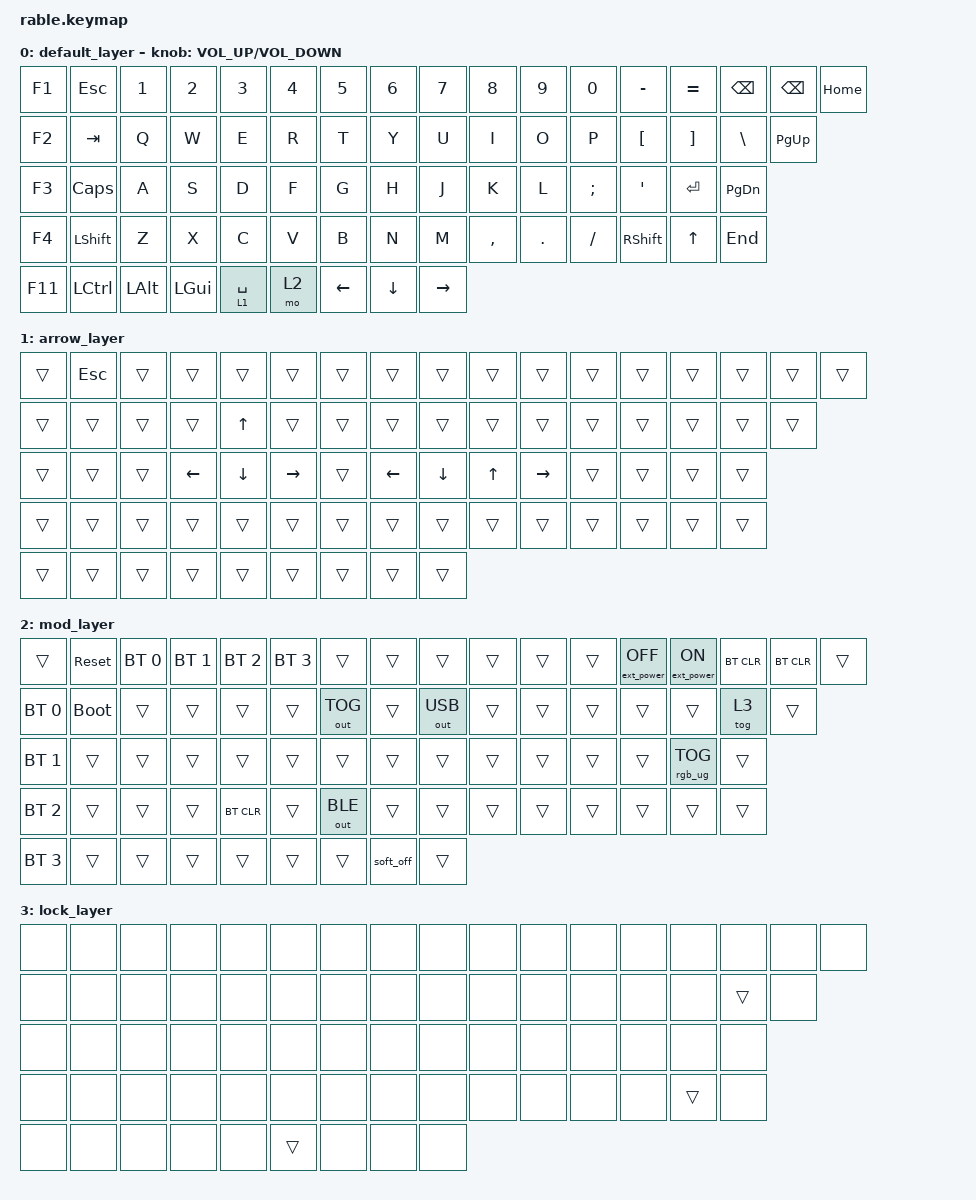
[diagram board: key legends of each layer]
/*
 * Copyright (c) 2021 Nick Winans
 *
 * SPDX-License-Identifier: MIT
 */

#include <behaviors.dtsi>
#include <dt-bindings/zmk/bt.h>
#include <dt-bindings/zmk/ext_power.h>
#include <dt-bindings/zmk/keys.h>
#include <dt-bindings/zmk/outputs.h>
#include <dt-bindings/zmk/rgb.h>


/ {
    keymap {
        compatible = "zmk,keymap";

        default_layer {
            bindings = <
&kp F1   &kp ESCAPE  &kp N1    &kp N2    &kp N3       &kp N4  &kp N5    &kp N6    &kp N7     &kp N8     &kp N9   &kp N0    &kp MINUS  &kp EQUAL  &kp BACKSPACE  &kp BACKSPACE  &kp HOME
&kp F2   &kp TAB     &kp Q     &kp W     &kp E        &kp R   &kp T     &kp Y     &kp U      &kp I      &kp O    &kp P     &kp LBKT   &kp RBKT   &kp BACKSLASH  &kp PG_UP
&kp F3   &kp CLCK    &kp A     &kp S     &kp D        &kp F   &kp G     &kp H     &kp J      &kp K      &kp L    &kp SEMI  &kp SQT    &kp RET    &kp PG_DN
&kp F4   &kp LSHFT   &kp Z     &kp X     &kp C        &kp V   &kp B     &kp N     &kp M      &kp COMMA  &kp DOT  &kp FSLH  &kp RSHFT  &kp UP     &kp END
&kp F11  &kp LCTRL   &kp LALT  &kp LGUI  &lt 1 SPACE  &mo 2   &kp LEFT  &kp DOWN  &kp RIGHT
            >;

            sensor-bindings = <&inc_dec_kp C_VOLUME_UP C_VOLUME_DOWN>;
        };

        arrow_layer {
            bindings = <
&trans  &kp ESCAPE  &trans  &trans    &trans    &trans     &trans  &trans    &trans    &trans  &trans     &trans  &trans  &trans  &trans  &trans  &trans
&trans  &trans      &trans  &trans    &kp UP    &trans     &trans  &trans    &trans    &trans  &trans     &trans  &trans  &trans  &trans  &trans
&trans  &trans      &trans  &kp LEFT  &kp DOWN  &kp RIGHT  &trans  &kp LEFT  &kp DOWN  &kp UP  &kp RIGHT  &trans  &trans  &trans  &trans
&trans  &trans      &trans  &trans    &trans    &trans     &trans  &trans    &trans    &trans  &trans     &trans  &trans  &trans  &trans
&trans  &trans      &trans  &trans    &trans    &trans     &trans  &trans    &trans
            >;
        };

        mod_layer {
            bindings = <
&trans        &sys_reset   &bt BT_SEL 0  &bt BT_SEL 1  &bt BT_SEL 2  &bt BT_SEL 3  &trans        &trans  &trans        &trans  &trans  &trans  &ext_power EP_OFF  &ext_power EP_ON  &bt BT_CLR  &bt BT_CLR  &trans
&bt BT_SEL 0  &bootloader  &trans        &trans        &trans        &trans        &out OUT_TOG  &trans  &out OUT_USB  &trans  &trans  &trans  &trans             &trans            &tog 3      &trans
&bt BT_SEL 1  &trans       &trans        &trans        &trans        &trans        &trans        &trans  &trans        &trans  &trans  &trans  &trans             &rgb_ug RGB_TOG   &trans
&bt BT_SEL 2  &trans       &trans        &trans        &bt BT_CLR    &trans        &out OUT_BLE  &trans  &trans        &trans  &trans  &trans  &trans             &trans            &trans
&bt BT_SEL 3  &trans       &trans        &trans        &trans        &trans        &trans        &soft_off  &trans
            >;
        };

        lock_layer {
            bindings = <
&none  &none  &none  &none  &none  &none   &none  &none  &none  &none  &none  &none  &none  &none   &none   &none  &none
&none  &none  &none  &none  &none  &none   &none  &none  &none  &none  &none  &none  &none  &none   &trans  &none
&none  &none  &none  &none  &none  &none   &none  &none  &none  &none  &none  &none  &none  &none   &none
&none  &none  &none  &none  &none  &none   &none  &none  &none  &none  &none  &none  &none  &trans  &none
&none  &none  &none  &none  &none  &trans  &none  &none  &none
            >;
        };
    };
};
